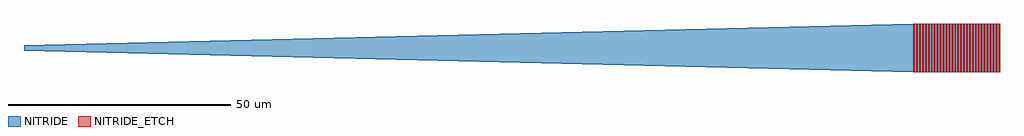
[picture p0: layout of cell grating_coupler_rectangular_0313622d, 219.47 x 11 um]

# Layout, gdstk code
import gdstk
lib = gdstk.Library(unit=1e-6, precision=1e-09)
def R(c, l, rs):  # rectangles x0, y0, x1, y1
    for r in rs: c.add(gdstk.rectangle(r[:2], r[2:], *l))
def P(c, l, *ps):  # polygons
    for p in ps: c.add(gdstk.Polygon(p, *l))
NITRIDE = (203, 0)
NITRIDE_ETCH = (204, 0)

taper_e6b029df = lib.new_cell('taper_e6b029df')
P(taper_e6b029df, NITRIDE, [(200,-5.5),(0,-0.6),(0,0.6),(200,5.5)])

compass_cf2f794a = lib.new_cell('compass_cf2f794a')
R(compass_cf2f794a, NITRIDE_ETCH, [(-0.165,-5.5,0.165,5.5)])

rectangle_cf2f794a = lib.new_cell('rectangle_cf2f794a')
rectangle_cf2f794a.add(gdstk.Reference(compass_cf2f794a, (0.165,5.5)))

grating_coupler_rectangu = lib.new_cell('grating_coupler_rectangular_0313622d')
R(grating_coupler_rectangu, NITRIDE, [(200,-5.5,219.47,5.5)])
grating_coupler_rectangu.add(gdstk.Reference(taper_e6b029df, (0,0)))
grating_coupler_rectangu.add(gdstk.Reference(rectangle_cf2f794a, (200,-5.5)))
grating_coupler_rectangu.add(gdstk.Reference(rectangle_cf2f794a, (200.66,-5.5)))
grating_coupler_rectangu.add(gdstk.Reference(rectangle_cf2f794a, (201.32,-5.5)))
grating_coupler_rectangu.add(gdstk.Reference(rectangle_cf2f794a, (201.98,-5.5)))
grating_coupler_rectangu.add(gdstk.Reference(rectangle_cf2f794a, (202.64,-5.5)))
grating_coupler_rectangu.add(gdstk.Reference(rectangle_cf2f794a, (203.3,-5.5)))
grating_coupler_rectangu.add(gdstk.Reference(rectangle_cf2f794a, (203.96,-5.5)))
grating_coupler_rectangu.add(gdstk.Reference(rectangle_cf2f794a, (204.62,-5.5)))
grating_coupler_rectangu.add(gdstk.Reference(rectangle_cf2f794a, (205.28,-5.5)))
grating_coupler_rectangu.add(gdstk.Reference(rectangle_cf2f794a, (205.94,-5.5)))
grating_coupler_rectangu.add(gdstk.Reference(rectangle_cf2f794a, (206.6,-5.5)))
grating_coupler_rectangu.add(gdstk.Reference(rectangle_cf2f794a, (207.26,-5.5)))
grating_coupler_rectangu.add(gdstk.Reference(rectangle_cf2f794a, (207.92,-5.5)))
grating_coupler_rectangu.add(gdstk.Reference(rectangle_cf2f794a, (208.58,-5.5)))
grating_coupler_rectangu.add(gdstk.Reference(rectangle_cf2f794a, (209.24,-5.5)))
grating_coupler_rectangu.add(gdstk.Reference(rectangle_cf2f794a, (209.9,-5.5)))
grating_coupler_rectangu.add(gdstk.Reference(rectangle_cf2f794a, (210.56,-5.5)))
grating_coupler_rectangu.add(gdstk.Reference(rectangle_cf2f794a, (211.22,-5.5)))
grating_coupler_rectangu.add(gdstk.Reference(rectangle_cf2f794a, (211.88,-5.5)))
grating_coupler_rectangu.add(gdstk.Reference(rectangle_cf2f794a, (212.54,-5.5)))
grating_coupler_rectangu.add(gdstk.Reference(rectangle_cf2f794a, (213.2,-5.5)))
grating_coupler_rectangu.add(gdstk.Reference(rectangle_cf2f794a, (213.86,-5.5)))
grating_coupler_rectangu.add(gdstk.Reference(rectangle_cf2f794a, (214.52,-5.5)))
grating_coupler_rectangu.add(gdstk.Reference(rectangle_cf2f794a, (215.18,-5.5)))
grating_coupler_rectangu.add(gdstk.Reference(rectangle_cf2f794a, (215.84,-5.5)))
grating_coupler_rectangu.add(gdstk.Reference(rectangle_cf2f794a, (216.5,-5.5)))
grating_coupler_rectangu.add(gdstk.Reference(rectangle_cf2f794a, (217.16,-5.5)))
grating_coupler_rectangu.add(gdstk.Reference(rectangle_cf2f794a, (217.82,-5.5)))
grating_coupler_rectangu.add(gdstk.Reference(rectangle_cf2f794a, (218.48,-5.5)))
grating_coupler_rectangu.add(gdstk.Reference(rectangle_cf2f794a, (219.14,-5.5)))

lib.write_gds('grating_coupler_rectangular_0313622d.gds')
